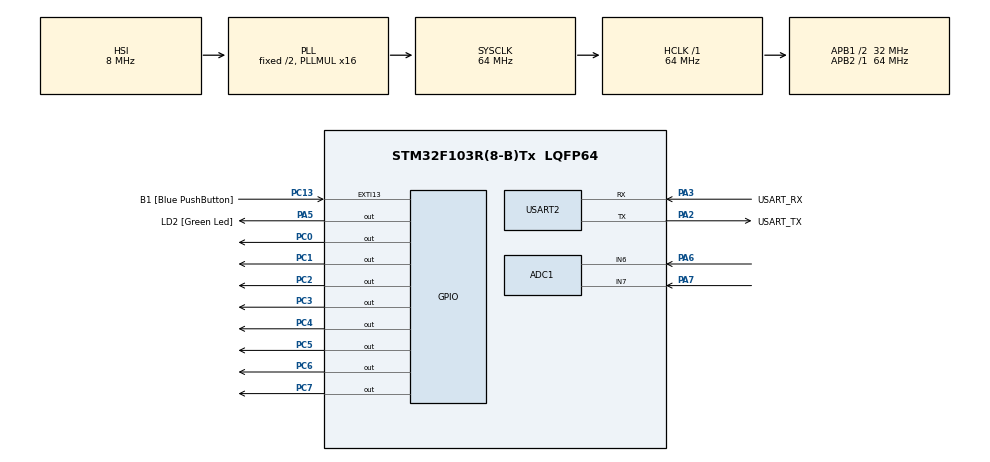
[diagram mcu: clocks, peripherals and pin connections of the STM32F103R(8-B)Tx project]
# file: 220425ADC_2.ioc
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ADC1.Channel-3\#ChannelRegularConversion=ADC_CHANNEL_6
ADC1.Channel-4\#ChannelRegularConversion=ADC_CHANNEL_7
ADC1.ContinuousConvMode=ENABLE
ADC1.NbrOfConversion=2
ADC1.NbrOfConversionFlag=1
ADC1.Rank-3\#ChannelRegularConversion=1
ADC1.Rank-4\#ChannelRegularConversion=2
ADC1.SamplingTime-3\#ChannelRegularConversion=ADC_SAMPLETIME_239CYCLES_5
ADC1.SamplingTime-4\#ChannelRegularConversion=ADC_SAMPLETIME_239CYCLES_5
ADC1.master=1
Dma.ADC1.0.Direction=DMA_PERIPH_TO_MEMORY
Dma.ADC1.0.Instance=DMA1_Channel1
Dma.ADC1.0.MemDataAlignment=DMA_MDATAALIGN_WORD
Dma.ADC1.0.MemInc=DMA_MINC_ENABLE
Dma.ADC1.0.Mode=DMA_CIRCULAR
Dma.ADC1.0.PeriphDataAlignment=DMA_PDATAALIGN_WORD
Dma.ADC1.0.PeriphInc=DMA_PINC_DISABLE
Dma.ADC1.0.Priority=DMA_PRIORITY_LOW
Dma.Request0=ADC1
Mcu.Family=STM32F1
Mcu.Name=STM32F103R(8-B)Tx
Mcu.Package=LQFP64
NVIC.DMA1_Channel1_IRQn=true\:0\:0\:false\:false\:true\:false\:true\:true
NVIC.EXTI15_10_IRQn=true\:0\:0\:false\:false\:true\:true\:true\:true
NVIC.PriorityGroup=NVIC_PRIORITYGROUP_4
PA0-WKUP.Signal=ADCx_IN0
PA13.GPIO_Label=TMS
PA13.Mode=Serial_Wire
PA13.Signal=SYS_JTMS-SWDIO
PA14.GPIO_Label=TCK
PA14.Mode=Serial_Wire
PA14.Signal=SYS_JTCK-SWCLK
PA2.GPIO_Label=USART_TX
PA2.GPIO_Mode=GPIO_MODE_AF_PP
PA2.GPIO_PuPd=GPIO_NOPULL
PA2.GPIO_Speed=GPIO_SPEED_FREQ_LOW
PA2.Mode=Asynchronous
PA2.Signal=USART2_TX
PA3.GPIO_Label=USART_RX
PA3.GPIO_Mode=GPIO_MODE_AF_PP
PA3.GPIO_PuPd=GPIO_NOPULL
PA3.GPIO_Speed=GPIO_SPEED_FREQ_LOW
PA3.Mode=Asynchronous
PA3.Signal=USART2_RX
PA5.GPIO_Label=LD2 [Green Led]
PA5.GPIO_ModeDefaultOutputPP=GPIO_MODE_OUTPUT_PP
PA5.GPIO_PuPd=GPIO_NOPULL
PA5.GPIO_Speed=GPIO_SPEED_FREQ_LOW
PA5.Signal=GPIO_Output
PA6.Signal=ADCx_IN6
PA7.Signal=ADCx_IN7
PB3.GPIO_Label=SWO
PB3.Signal=SYS_JTDO-TRACESWO
PC0.Signal=GPIO_Output
PC1.Signal=GPIO_Output
PC13-TAMPER-RTC.GPIO_Label=B1 [Blue PushButton]
PC13-TAMPER-RTC.GPIO_PuPd=GPIO_NOPULL
PC13-TAMPER-RTC.Signal=GPXTI13
PC14-OSC32_IN.Mode=LSE-External-Oscillator
PC14-OSC32_IN.Signal=RCC_OSC32_IN
PC15-OSC32_OUT.Mode=LSE-External-Oscillator
PC15-OSC32_OUT.Signal=RCC_OSC32_OUT
PC2.Signal=GPIO_Output
PC3.Signal=GPIO_Output
PC4.Signal=GPIO_Output
PC5.Signal=GPIO_Output
PC6.Signal=GPIO_Output
PC7.Signal=GPIO_Output
PD0-OSC_IN.Mode=HSE-External-Clock-Source
PD0-OSC_IN.Signal=RCC_OSC_IN
PD1-OSC_OUT.Mode=HSE-External-Clock-Source
PD1-OSC_OUT.Signal=RCC_OSC_OUT
ProjectManager.HeapSize=0x200
ProjectManager.StackSize=0x400
ProjectManager.TargetToolchain=STM32CubeIDE
RCC.ADCPresc=RCC_ADCPCLK2_DIV8
RCC.AHBFreq_Value=64000000
RCC.APB1CLKDivider=RCC_HCLK_DIV2
RCC.APB1Freq_Value=32000000
RCC.APB1TimFreq_Value=64000000
RCC.APB2Freq_Value=64000000
RCC.APB2TimFreq_Value=64000000
RCC.HCLKFreq_Value=64000000
RCC.PLLMUL=RCC_PLL_MUL16
RCC.RTCClockSelection=RCC_RTCCLKSOURCE_LSE
RCC.SYSCLKFreq_VALUE=64000000
RCC.SYSCLKSource=RCC_SYSCLKSOURCE_PLLCLK
RCC.USBFreq_Value=64000000
SH.ADCx_IN0.0=ADC1_IN0
SH.ADCx_IN6.0=ADC1_IN6,IN6
SH.ADCx_IN7.0=ADC1_IN7,IN7
USART2.VirtualMode=VM_ASYNC
board=NUCLEO-F103RB

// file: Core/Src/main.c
/* USER CODE BEGIN Header */
/**
  ******************************************************************************
  * @file           : main.c
  * @brief          : Main program body
  ******************************************************************************
  * @attention
  *
  * Copyright (c) 2022 STMicroelectronics.
  * All rights reserved.
  *
  * This software is licensed under terms that can be found in the LICENSE file
  * in the root directory of this software component.
  * If no LICENSE file comes with this software, it is provided AS-IS.
  *
  ******************************************************************************
  */
/* USER CODE END Header */
#include "main.h"

/* USER CODE BEGIN Includes */
#include "stdio.h"
/* USER CODE END Includes */

 ADC_HandleTypeDef hadc1;
DMA_HandleTypeDef hdma_adc1;

UART_HandleTypeDef huart2;

/* USER CODE BEGIN PV */
uint32_t adc_value[2];
/* USER CODE END PV */

void SystemClock_Config(void);
static void MX_GPIO_Init(void);
static void MX_USART2_UART_Init(void);
static void MX_DMA_Init(void);
static void MX_ADC1_Init(void);

/* USER CODE BEGIN 0 */
#ifdef __GNUC__
/* With GCC, small printf (option LD Linker->Libraries->Small printf
   set to 'Yes') calls __io_putchar() */
#define PUTCHAR_PROTOTYPE int __io_putchar(int ch)
#else
#define PUTCHAR_PROTOTYPE int fputc(int ch, FILE *f)
#endif /* __GNUC__ */
void SystemClock_Config(void);
/* USER CODE END 0 */

int main(void)
{

  /* MCU Configuration--------------------------------------------------------*/

  /* Reset of all peripherals, Initializes the Flash interface and the Systick. */
  HAL_Init();

  /* Configure the system clock */
  SystemClock_Config();

  /* Initialize all configured peripherals */
  MX_GPIO_Init();
  MX_USART2_UART_Init();
  MX_DMA_Init();
  MX_ADC1_Init();
  /* USER CODE BEGIN 2 */
  printf("adc_test\r\n");
  HAL_ADC_Start_DMA(&hadc1, adc_value,2);
  //HAL_ADC_Start_IT(&hadc1);
  /* USER CODE END 2 */

  /* Infinite loop */
  /* USER CODE BEGIN WHILE */
  while (1)
  {
		HAL_Delay(10);
		printf("Vx : %d   Vy : %d\r\n", adc_value[0], adc_value[1]);
    /* USER CODE END WHILE */

  }
}

void SystemClock_Config(void)
{
  RCC_OscInitTypeDef RCC_OscInitStruct = {0};
  RCC_ClkInitTypeDef RCC_ClkInitStruct = {0};
  RCC_PeriphCLKInitTypeDef PeriphClkInit = {0};

  /** Initializes the RCC Oscillators according to the specified parameters
  * in the RCC_OscInitTypeDef structure.
  */
  RCC_OscInitStruct.OscillatorType = RCC_OSCILLATORTYPE_HSI;
  RCC_OscInitStruct.HSIState = RCC_HSI_ON;
  RCC_OscInitStruct.HSICalibrationValue = RCC_HSICALIBRATION_DEFAULT;
  RCC_OscInitStruct.PLL.PLLState = RCC_PLL_ON;
  RCC_OscInitStruct.PLL.PLLSource = RCC_PLLSOURCE_HSI_DIV2;
  RCC_OscInitStruct.PLL.PLLMUL = RCC_PLL_MUL16;
  if (HAL_RCC_OscConfig(&RCC_OscInitStruct) != HAL_OK)
  {
    Error_Handler();
  }

  /** Initializes the CPU, AHB and APB buses clocks
  */
  RCC_ClkInitStruct.ClockType = RCC_CLOCKTYPE_HCLK|RCC_CLOCKTYPE_SYSCLK
                              |RCC_CLOCKTYPE_PCLK1|RCC_CLOCKTYPE_PCLK2;
  RCC_ClkInitStruct.SYSCLKSource = RCC_SYSCLKSOURCE_PLLCLK;
  RCC_ClkInitStruct.AHBCLKDivider = RCC_SYSCLK_DIV1;
  RCC_ClkInitStruct.APB1CLKDivider = RCC_HCLK_DIV2;
  RCC_ClkInitStruct.APB2CLKDivider = RCC_HCLK_DIV1;

  if (HAL_RCC_ClockConfig(&RCC_ClkInitStruct, FLASH_LATENCY_2) != HAL_OK)
  {
    Error_Handler();
  }
  PeriphClkInit.PeriphClockSelection = RCC_PERIPHCLK_ADC;
  PeriphClkInit.AdcClockSelection = RCC_ADCPCLK2_DIV8;
  if (HAL_RCCEx_PeriphCLKConfig(&PeriphClkInit) != HAL_OK)
  {
    Error_Handler();
  }
}

static void MX_ADC1_Init(void)
{

  ADC_ChannelConfTypeDef sConfig = {0};

  /** Common config
  */
  hadc1.Instance = ADC1;
  hadc1.Init.ScanConvMode = ADC_SCAN_ENABLE;
  hadc1.Init.ContinuousConvMode = ENABLE;
  hadc1.Init.DiscontinuousConvMode = DISABLE;
  hadc1.Init.ExternalTrigConv = ADC_SOFTWARE_START;
  hadc1.Init.DataAlign = ADC_DATAALIGN_RIGHT;
  hadc1.Init.NbrOfConversion = 2;
  if (HAL_ADC_Init(&hadc1) != HAL_OK)
  {
    Error_Handler();
  }

  /** Configure Regular Channel
  */
  sConfig.Channel = ADC_CHANNEL_6;
  sConfig.Rank = ADC_REGULAR_RANK_1;
  sConfig.SamplingTime = ADC_SAMPLETIME_239CYCLES_5;
  if (HAL_ADC_ConfigChannel(&hadc1, &sConfig) != HAL_OK)
  {
    Error_Handler();
  }

  /** Configure Regular Channel
  */
  sConfig.Channel = ADC_CHANNEL_7;
  sConfig.Rank = ADC_REGULAR_RANK_2;
  if (HAL_ADC_ConfigChannel(&hadc1, &sConfig) != HAL_OK)
  {
    Error_Handler();
  }

}

static void MX_USART2_UART_Init(void)
{

  huart2.Instance = USART2;
  huart2.Init.BaudRate = 115200;
  huart2.Init.WordLength = UART_WORDLENGTH_8B;
  huart2.Init.StopBits = UART_STOPBITS_1;
  huart2.Init.Parity = UART_PARITY_NONE;
  huart2.Init.Mode = UART_MODE_TX_RX;
  huart2.Init.HwFlowCtl = UART_HWCONTROL_NONE;
  huart2.Init.OverSampling = UART_OVERSAMPLING_16;
  if (HAL_UART_Init(&huart2) != HAL_OK)
  {
    Error_Handler();
  }

}

static void MX_DMA_Init(void)
{

  /* DMA controller clock enable */
  __HAL_RCC_DMA1_CLK_ENABLE();

  /* DMA interrupt init */
  /* DMA1_Channel1_IRQn interrupt configuration */
  HAL_NVIC_SetPriority(DMA1_Channel1_IRQn, 0, 0);
  HAL_NVIC_EnableIRQ(DMA1_Channel1_IRQn);

}

static void MX_GPIO_Init(void)
{
  GPIO_InitTypeDef GPIO_InitStruct = {0};

  /* GPIO Ports Clock Enable */
  __HAL_RCC_GPIOC_CLK_ENABLE();
  __HAL_RCC_GPIOD_CLK_ENABLE();
  __HAL_RCC_GPIOA_CLK_ENABLE();
  __HAL_RCC_GPIOB_CLK_ENABLE();

  /*Configure GPIO pin Output Level */
  HAL_GPIO_WritePin(GPIOC, GPIO_PIN_0|GPIO_PIN_1|GPIO_PIN_2|GPIO_PIN_3
                          |GPIO_PIN_4|GPIO_PIN_5|GPIO_PIN_6|GPIO_PIN_7, GPIO_PIN_RESET);

  /*Configure GPIO pin Output Level */
  HAL_GPIO_WritePin(LD2_GPIO_Port, LD2_Pin, GPIO_PIN_RESET);

  /*Configure GPIO pin : B1_Pin */
  GPIO_InitStruct.Pin = B1_Pin;
  GPIO_InitStruct.Mode = GPIO_MODE_IT_RISING;
  GPIO_InitStruct.Pull = GPIO_NOPULL;
  HAL_GPIO_Init(B1_GPIO_Port, &GPIO_InitStruct);

  /*Configure GPIO pins : PC0 PC1 PC2 PC3
                           PC4 PC5 PC6 PC7 */
  GPIO_InitStruct.Pin = GPIO_PIN_0|GPIO_PIN_1|GPIO_PIN_2|GPIO_PIN_3
                          |GPIO_PIN_4|GPIO_PIN_5|GPIO_PIN_6|GPIO_PIN_7;
  GPIO_InitStruct.Mode = GPIO_MODE_OUTPUT_PP;
  GPIO_InitStruct.Pull = GPIO_NOPULL;
  GPIO_InitStruct.Speed = GPIO_SPEED_FREQ_LOW;
  HAL_GPIO_Init(GPIOC, &GPIO_InitStruct);

  /*Configure GPIO pin : LD2_Pin */
  GPIO_InitStruct.Pin = LD2_Pin;
  GPIO_InitStruct.Mode = GPIO_MODE_OUTPUT_PP;
  GPIO_InitStruct.Pull = GPIO_NOPULL;
  GPIO_InitStruct.Speed = GPIO_SPEED_FREQ_LOW;
  HAL_GPIO_Init(LD2_GPIO_Port, &GPIO_InitStruct);

  /* EXTI interrupt init*/
  HAL_NVIC_SetPriority(EXTI15_10_IRQn, 0, 0);
  HAL_NVIC_EnableIRQ(EXTI15_10_IRQn);

}

/* USER CODE BEGIN 4 */
PUTCHAR_PROTOTYPE
{
  /* Place your implementation of fputc here */
  /* e.g. write a character to the USART1 and Loop until the end of transmission */
  HAL_UART_Transmit(&huart2, (uint8_t *)&ch, 1, 0xFFFF);

  return ch;
}
/* USER CODE END 4 */

void Error_Handler(void)
{
  __disable_irq();
  while (1)
  {
  }
}
